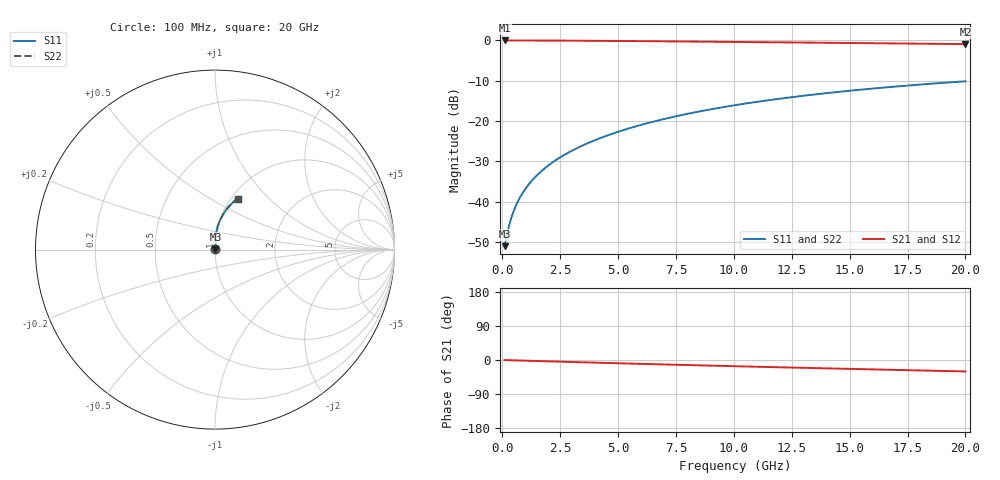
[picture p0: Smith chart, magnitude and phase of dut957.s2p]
! Touchstone file exported from HFSS 2024.1.0
!  File:  C:/UserFiles/LocalFiles/RDL_TSV_Batchsim/temp_RDL_bottom_957_1779942465.aedt
!  Generated:  12:30:22 PM May 28, 2026
!  Design:  RDL_bottom
!  Project:  temp_RDL_bottom_957_1779942465
!  Setup:  Setup1
!  Solution:  Sweep
! Variables:
!  dtsv = 10.80580581um
!  hbump = 3um
!  htsv = 79.73um
!  ldown = 377.34um
!  lrdl = 100um
!  p = 40
!  p1 = 57.62um
!  rhole = 1um
!  t = 450um
!  tdown = 2.68um
!  trdl = 3.915915916um
!  wdown = 24.43um
!  wrdl = 20um
# GHz S MA R 50.000000
! Terminal data exported
! Port[1] = RDL1_T1
! Port[2] = RDL1_T2
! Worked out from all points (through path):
!   200 points, 100 MHz to 20 GHz, reference 50 ohm
!   highest |S21| = -0.02 dB at 100 MHz (marker M1); lowest = -0.9 dB at 20 GHz (marker M2)
!   group delay of S21, straight-line fit = 4.15 ps
!   lowest |S11| = -51.1 dB at 100 MHz (marker M3), VSWR 1.01, Z = 50.2 + j0.153 ohm
!   |S11| at or under -10 dB: start of sweep to end of sweep
!   |S22| runs from -51.1 to -10.2 dB; largest |S21 - S12| = 3.3e-15
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0.1  0.002792 33.1  0.9977 -0.2  0.9977 -0.2  0.002792 33.1
! Gamma 0 0 0 0
! Port Impedance 50 0 50 0
0.2  0.003865 51.3  0.9976 -0.4  0.9976 -0.4  0.003865 51.3
0.3  0.005125 60.7  0.9974 -0.6  0.9974 -0.6  0.005125 60.7
0.4  0.006432 66.1  0.9973 -0.7  0.9973 -0.7  0.006432 66.1
0.5  0.007748 69.7  0.9971 -0.9  0.9971 -0.9  0.007748 69.7
0.6  0.009068 72.4  0.997 -1.1  0.997 -1.1  0.009068 72.4
0.8  0.01172 76.0  0.9967 -1.4  0.9967 -1.4  0.01172 76.0
1.1  0.01575 79.5  0.9963 -2.0  0.9963 -2.0  0.01575 79.5
1.3  0.01847 81.0  0.9959 -2.3  0.9959 -2.3  0.01847 81.0
1.6  0.0226 82.7  0.9953 -2.9  0.9953 -2.9  0.0226 82.7
2.1  0.02962 84.4  0.9942 -3.7  0.9942 -3.7  0.02962 84.4
2.7  0.03825 85.7  0.9925 -4.8  0.9925 -4.8  0.03825 85.7
3.5  0.05011 86.4  0.9897 -6.2  0.9897 -6.2  0.05011 86.4
4.2  0.06081 86.6  0.9868 -7.3  0.9868 -7.3  0.06081 86.6
5  0.07337 86.5  0.9832 -8.7  0.9832 -8.7  0.07337 86.5
5.9  0.08786 86.0  0.9788 -10.1  0.9788 -10.1  0.08786 86.0
6.8  0.1026 85.2  0.9742 -11.5  0.9742 -11.5  0.1026 85.2
8.4  0.1293 83.3  0.9656 -14.0  0.9656 -14.0  0.1293 83.3
10.1  0.1578 81.0  0.9562 -16.5  0.9562 -16.5  0.1578 81.0
13.4  0.2119 76.0  0.9374 -21.3  0.9374 -21.3  0.2118 76.0
16.7  0.2631 71.0  0.9182 -25.8  0.9182 -25.8  0.2631 71.0
20  0.3106 66.2  0.8985 -30.2  0.8985 -30.2  0.3106 66.2
